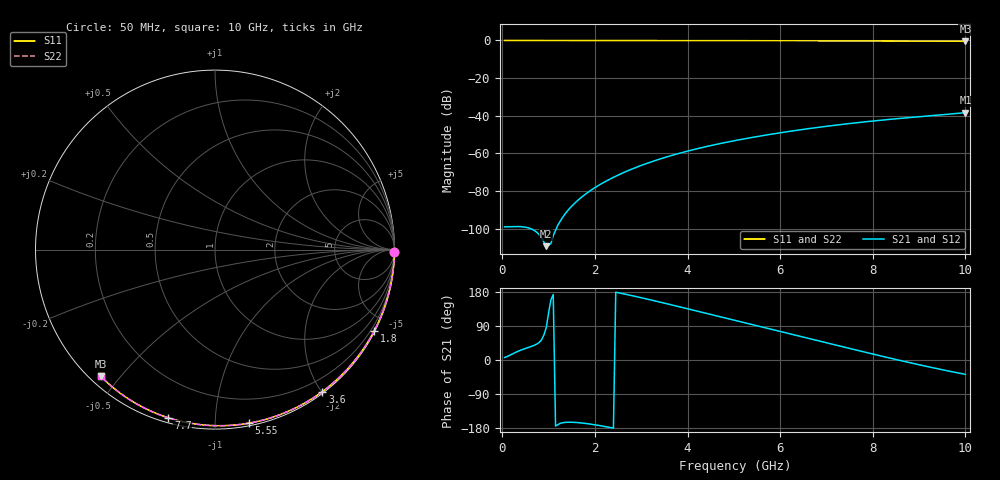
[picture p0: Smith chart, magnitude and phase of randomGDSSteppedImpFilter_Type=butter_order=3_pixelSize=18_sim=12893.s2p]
! freq	dB(S11)	phase(S11)	dB(S12)	phase(S12)
!  dB(S21)	phase(S21)	dB(S22)	phase(S22)
!S-par simulation data
#  GHz  S  DB  R 50
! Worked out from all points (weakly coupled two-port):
!   200 points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, 50 MHz to 10 GHz, reference 50 ohm
!   highest |S21| = -38.34 dB at 10 GHz (marker M1); lowest = -109.2 dB at 950 MHz (marker M2)
!   lowest |S11| = -0.4 dB at 10 GHz (marker M3), VSWR 39.48, Z = 1.52 - j22.3 ohm
!   |S11| at or under -10 dB: nowhere
!   |S22| runs from -0.4 to 0.0 dB; largest |S21 - S12| = 0
!   S11 on the Smith chart (normalised r, x): 50 MHz: open; 1.8 GHz: 0.04, -4.16; 3.6 GHz: 0.02, -2.01; 5.55 GHz: 0.02, -1.21; 7.7 GHz: 0.02, -0.76; 10 GHz: 0.03, -0.45
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0.05  -0.00 -0.8  -98.96 6.7  -98.96 6.7  -0.00 -0.8
0.5  -0.01 -7.6  -99.14 30.5  -99.14 30.5  -0.01 -7.6
0.95  -0.02 -14.4  -109.21 85.9  -109.21 85.9  -0.02 -14.4
1.75  -0.03 -26.3  -82.44 -166.7  -82.44 -166.7  -0.03 -26.3
1.8  -0.03 -27.1  -81.50 -167.4  -81.50 -167.4  -0.03 -27.1
1.9  -0.04 -28.5  -79.76 -169.1  -79.76 -169.1  -0.04 -28.5
2.05  -0.04 -30.7  -77.37 -172.0  -77.37 -172.0  -0.04 -30.7
2.25  -0.04 -33.7  -74.55 -176.3  -74.55 -176.3  -0.04 -33.7
2.65  -0.05 -39.4  -69.80 173.8  -69.80 173.8  -0.05 -39.4
3  -0.06 -44.5  -66.35 164.3  -66.35 164.3  -0.06 -44.5
3.4  -0.07 -50.1  -62.96 152.9  -62.96 152.9  -0.07 -50.1
3.6  -0.07 -52.9  -61.46 147.1  -61.46 147.1  -0.07 -52.9
3.9  -0.08 -57.1  -59.39 138.2  -59.39 138.2  -0.08 -57.1
4.3  -0.09 -62.5  -56.93 126.2  -56.93 126.2  -0.09 -62.5
5.05  -0.11 -72.5  -53.03 103.7  -53.03 103.7  -0.11 -72.5
5.55  -0.13 -79.0  -50.81 88.8  -50.81 88.8  -0.13 -79.0
6.1  -0.15 -86.0  -48.64 72.4  -48.64 72.4  -0.15 -86.0
6.7  -0.18 -93.4  -46.53 54.5  -46.53 54.5  -0.18 -93.4
7.7  -0.24 -105.5  -43.55 24.6  -43.55 24.6  -0.24 -105.5
8.35  -0.29 -113.1  -41.93 5.6  -41.93 5.6  -0.29 -113.1
9.15  -0.36 -122.3  -40.18 -16.6  -40.18 -16.6  -0.36 -122.3
10  -0.44 -132.0  -38.34 -37.9  -38.34 -37.9  -0.44 -132.0
